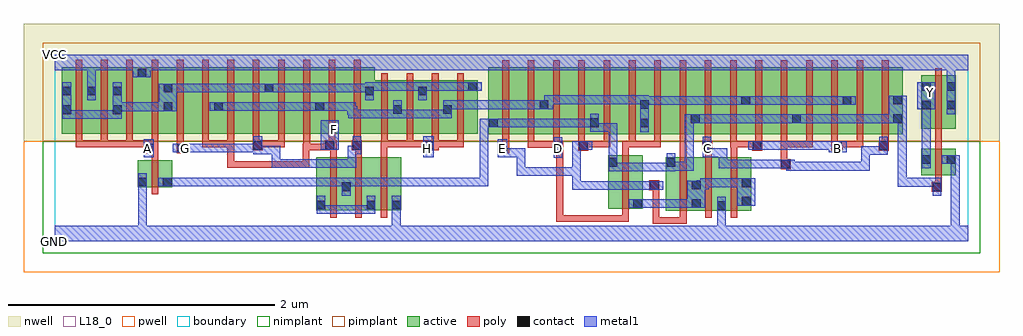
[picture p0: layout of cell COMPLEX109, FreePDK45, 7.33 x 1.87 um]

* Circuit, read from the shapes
.subckt COMPLEX109 A B C D E F G GND H VCC Y
M1 n1 A GND VSUBS nfet w=0.2u l=0.05u
M2 n1 F n2 VSUBS nfet w=0.4u l=0.05u
M3 n2 G n1 VSUBS nfet w=0.4u l=0.05u
M4 GND H n2 VSUBS nfet w=0.4u l=0.05u
M5 n3 D n1 VSUBS nfet w=0.4u l=0.05u
M6 n3 E n1 VSUBS nfet w=0.4u l=0.05u
M7 GND C n3 VSUBS nfet w=0.4u l=0.05u
M8 n3 B GND VSUBS nfet w=0.4u l=0.05u
M9 GND n1 Y VSUBS nfet w=0.2u l=0.05u
M10 VCC A n4 n5 pfet w=0.5u l=0.05u m=4
M11 n6 G n4 n5 pfet w=0.5u l=0.05u
M12 n7 F n6 n5 pfet w=0.5u l=0.05u
M13 n8 F n7 n5 pfet w=0.5u l=0.05u
M14 n4 G n8 n5 pfet w=0.5u l=0.05u
M15 n9 G n4 n5 pfet w=0.5u l=0.05u
M16 n7 F n9 n5 pfet w=0.5u l=0.05u
M17 n10 F n7 n5 pfet w=0.5u l=0.05u
M18 n4 G n10 n5 pfet w=0.5u l=0.05u
M19 n7 H n4 n5 pfet w=0.4u l=0.05u m=4
M20 n11 E n1 n5 pfet w=0.5u l=0.05u
M21 n7 D n11 n5 pfet w=0.5u l=0.05u
M22 n12 D n7 n5 pfet w=0.5u l=0.05u
M23 n1 E n12 n5 pfet w=0.5u l=0.05u
M24 n13 E n1 n5 pfet w=0.5u l=0.05u
M25 n7 D n13 n5 pfet w=0.5u l=0.05u
M26 n14 D n7 n5 pfet w=0.5u l=0.05u
M27 n1 E n14 n5 pfet w=0.5u l=0.05u
M28 n15 C n1 n5 pfet w=0.5u l=0.05u
M29 n7 B n15 n5 pfet w=0.5u l=0.05u
M30 n16 B n7 n5 pfet w=0.5u l=0.05u
M31 n1 C n16 n5 pfet w=0.5u l=0.05u
M32 n17 C n1 n5 pfet w=0.5u l=0.05u
M33 n7 B n17 n5 pfet w=0.5u l=0.05u
M34 n18 B n7 n5 pfet w=0.5u l=0.05u
M35 n1 C n18 n5 pfet w=0.5u l=0.05u
M36 VCC n1 Y n5 pfet w=0.4u l=0.05u
.ends

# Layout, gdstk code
import gdstk
lib = gdstk.Library(unit=1e-6, precision=1e-09)
def R(c, l, rs):  # rectangles x0, y0, x1, y1
    for r in rs: c.add(gdstk.rectangle(r[:2], r[2:], *l))
def A(c, l, x, y, w, h, nx, ny, dx, dy):  # array of equal rectangles
    R(c, l, [(x+i*dx, y+j*dy, x+i*dx+w, y+j*dy+h) for i in range(nx) for j in range(ny)])
active = (1, 0)
pwell = (2, 0)
nwell = (3, 0)
nimplant = (4, 0)
pimplant = (5, 0)
poly = (9, 0)
contact = (10, 0)
metal1 = (11, 0)
L18_0 = (18, 0)
boundary = (235, 0)

complex109 = lib.new_cell('COMPLEX109')
A(complex109, active, 3.257, 0.805, 0.225, 0.5, 3, 1, 0.38, 0)
A(complex109, active, 4.242, 0.805, 0.225, 0.5, 6, 1, 0.38, 0)
A(complex109, active, 4.392, 0.805, 0.23, 0.5, 5, 1, 0.38, 0)
A(complex109, active, 0.052, 0.807, 0.075, 0.393, 3, 1, 0.38, 0)
A(complex109, active, 4.392, 0.807, 0.075, 0.393, 3, 1, 0.76, 0)
R(complex109, active, [(4.59,0.23,4.855,0.63), (4.78,0.23,5.045,0.63), (4.97,0.23,5.23,0.63), (4.97,0.23,5.045,0.492), (5.155,0.23,5.23,0.497), (1.962,0.232,2.227,0.632), (1.962,0.232,2.037,0.487), (2.152,0.232,2.412,0.632), (2.337,0.232,2.602,0.632), (2.337,0.232,2.412,0.492), (2.527,0.232,2.602,0.632), (4.155,0.245,4.415,0.645), (4.34,0.245,4.415,0.645), (4.78,0.245,4.855,0.492), (2.152,0.295,2.227,0.492), (4.155,0.295,4.23,0.645), (4.59,0.295,4.665,0.63), (0.622,0.407,0.697,0.607), (0.622,0.407,0.882,0.607), (0.807,0.407,0.882,0.607), (6.507,0.495,6.582,0.695), (6.507,0.495,6.767,0.695), (6.692,0.495,6.767,0.695), (3.257,0.805,3.362,0.94), (3.482,0.805,3.712,1.305), (3.862,0.805,4.092,1.305), (6.292,0.805,6.367,1.2), (0.052,0.807,0.312,1.307), (0.237,0.807,0.507,1.307), (0.237,0.807,0.312,1.305), (0.432,0.807,0.692,1.307), (0.617,0.807,0.887,1.307), (0.617,0.807,0.692,1.305), (0.812,0.807,1.037,1.307), (1.037,0.807,1.267,1.307), (1.192,0.807,1.417,1.307), (1.192,0.807,1.267,1.07), (1.417,0.807,1.645,1.307), (1.57,0.807,1.645,1.2), (1.57,0.807,1.797,1.307), (1.797,0.807,2.027,1.307), (1.952,0.807,2.177,1.307), (1.952,0.807,2.027,1.07), (2.177,0.807,2.402,1.307), (2.327,0.807,2.612,1.207), (2.537,0.807,2.8,1.207), (2.725,0.807,2.987,1.207), (2.912,0.807,3.177,1.207), (3.637,0.807,3.712,1.2), (4.017,0.807,4.092,1.07), (4.772,0.807,4.847,1.07), (5.532,0.807,5.607,1.07), (6.507,0.845,6.767,1.245), (6.507,0.845,6.582,1.2), (6.692,0.845,6.767,1.205), (2.327,0.907,2.402,1.2), (2.537,0.907,2.612,1.07), (2.725,0.907,2.8,1.2), (2.912,0.907,2.987,1.07), (3.102,0.907,3.177,1.2)])
R(complex109, pwell, [(-0.235,-0.235,7.095,0.75)])
R(complex109, nwell, [(-0.235,0.75,7.095,1.635)])
R(complex109, nimplant, [(-0.09,-0.09,6.95,0.75)])
R(complex109, pimplant, [(-0.09,0.75,6.95,1.49)])
A(complex109, poly, 4.695, 0.175, 0.05, 0.51, 3, 1, 0.19, 0)
A(complex109, poly, 2.067, 0.177, 0.05, 0.51, 3, 1, 0.19, 0)
A(complex109, poly, 3.932, 0.705, 0.05, 0.095, 4, 1, 0.19, 0)
A(complex109, poly, 4.882, 0.705, 0.05, 0.095, 8, 1, 0.19, 0)
A(complex109, poly, 0.157, 0.707, 0.05, 0.095, 4, 1, 0.19, 0)
A(complex109, poly, 0.157, 0.707, 0.05, 0.05, 3, 1, 0.19, 0)
A(complex109, poly, 1.107, 0.707, 0.05, 0.095, 4, 1, 0.19, 0)
A(complex109, poly, 2.452, 0.707, 0.05, 0.095, 4, 1, 0.19, 0)
A(complex109, poly, 3.362, 0.75, 0.05, 0.61, 16, 1, 0.19, 0)
A(complex109, poly, 0.157, 0.752, 0.05, 0.61, 12, 1, 0.19, 0)
A(complex109, poly, 2.452, 0.752, 0.05, 0.51, 4, 1, 0.19, 0)
R(complex109, poly, [(4.49,0.13,4.54,0.18), (4.49,0.13,4.745,0.18), (4.49,0.13,4.54,0.432), (4.695,0.13,4.745,0.225), (4.695,0.13,4.745,0.18), (4.695,0.13,4.745,0.18), (4.695,0.13,4.745,0.18), (3.767,0.145,3.817,0.195), (3.767,0.145,3.817,0.195), (3.767,0.145,3.817,0.195), (3.767,0.145,3.95,0.195), (3.767,0.145,3.817,0.727), (3.9,0.145,3.95,0.195), (3.9,0.145,3.95,0.195), (3.9,0.145,3.95,0.195), (3.9,0.145,3.95,0.195), (3.9,0.145,3.95,0.195), (3.9,0.145,3.95,0.195), (3.9,0.145,3.95,0.195), (3.9,0.145,4.097,0.195), (4.047,0.145,4.097,0.195), (4.047,0.145,4.14,0.195), (4.09,0.145,4.14,0.195), (4.09,0.145,4.23,0.195), (4.18,0.145,4.23,0.195), (4.18,0.145,4.31,0.195), (4.26,0.145,4.31,0.24), (4.26,0.145,4.31,0.195), (4.26,0.19,4.31,0.7), (0.727,0.352,0.777,0.662), (6.587,0.37,6.662,0.445), (4.465,0.382,4.54,0.457), (4.49,0.382,4.54,0.432), (4.49,0.382,4.54,0.432), (6.612,0.395,6.662,0.49), (6.612,0.44,6.662,0.75), (5.452,0.542,5.527,0.617), (1.297,0.55,1.347,0.6), (1.297,0.55,1.347,0.6), (1.297,0.55,1.347,0.6), (1.297,0.55,1.347,0.6), (1.297,0.55,1.347,0.6), (1.297,0.55,1.595,0.6), (1.297,0.55,1.347,0.757), (1.545,0.55,1.595,0.6), (1.545,0.55,1.595,0.6), (1.545,0.55,1.595,0.6), (1.545,0.55,1.747,0.6), (1.697,0.55,1.747,0.6), (1.697,0.55,1.747,0.6), (1.697,0.55,1.747,0.6), (1.697,0.55,1.912,0.6), (1.862,0.55,1.912,0.6), (1.862,0.55,1.912,0.6), (1.862,0.55,1.912,0.6), (1.862,0.55,1.912,0.732), (5.452,0.567,5.502,0.755), (0.727,0.612,0.777,0.712), (4.695,0.635,4.745,0.73), (4.885,0.635,4.935,0.73), (5.075,0.635,5.125,0.755), (2.067,0.637,2.117,0.732), (2.257,0.637,2.307,0.732), (2.447,0.637,2.497,0.757), (4.26,0.65,4.31,0.755), (0.675,0.662,0.777,0.757), (0.917,0.662,0.992,0.737), (3.327,0.662,3.412,0.737), (3.742,0.677,3.817,0.752), (3.767,0.677,3.817,0.727), (3.767,0.677,3.817,0.727), (3.932,0.68,4.007,0.755), (4.692,0.68,4.742,0.8), (4.692,0.68,4.745,0.73), (4.862,0.68,4.937,0.755), (5.237,0.68,5.312,0.755), (5.832,0.68,5.917,0.755), (6.187,0.68,6.262,0.755), (1.487,0.682,1.562,0.757), (1.862,0.682,1.917,0.732), (1.867,0.682,1.917,0.802), (1.867,0.682,2.077,0.732), (2.027,0.682,2.077,0.732), (2.027,0.682,2.077,0.732), (2.027,0.682,2.117,0.757), (2.232,0.682,2.307,0.757), (2.775,0.682,2.882,0.757), (0.917,0.687,0.967,0.802), (3.362,0.687,3.412,0.8), (6.612,0.7,6.662,0.795), (3.552,0.702,3.602,0.752), (3.552,0.702,3.602,0.752), (3.552,0.702,3.602,0.752), (3.552,0.702,3.792,0.752), (3.552,0.702,3.602,0.8), (3.742,0.702,3.792,0.8), (3.957,0.705,4.097,0.755), (4.047,0.705,4.097,0.755), (4.047,0.705,4.172,0.755), (4.122,0.705,4.172,0.755), (4.26,0.705,4.362,0.755), (4.312,0.705,4.362,0.755), (4.312,0.705,4.362,0.755), (4.312,0.705,4.552,0.755), (4.502,0.705,4.552,0.755), (5.072,0.705,5.125,0.755), (5.075,0.705,5.287,0.755), (5.237,0.705,5.287,0.755), (5.237,0.705,5.287,0.755), (5.452,0.705,5.502,0.755), (5.452,0.705,5.502,0.755), (5.452,0.705,5.502,0.755), (5.452,0.705,5.502,0.755), (5.452,0.705,5.502,0.755), (5.452,0.705,5.692,0.755), (5.642,0.705,5.692,0.755), (5.867,0.705,6.072,0.755), (6.022,0.705,6.072,0.755), (6.022,0.705,6.072,0.755), (6.022,0.705,6.072,0.755), (0.157,0.707,0.207,0.757), (0.157,0.707,0.207,0.757), (0.157,0.707,0.397,0.757), (0.347,0.707,0.587,0.757), (0.537,0.707,0.587,0.757), (0.537,0.707,0.587,0.757), (0.537,0.707,0.725,0.757), (0.675,0.707,0.725,0.757), (0.675,0.707,0.725,0.757), (1.107,0.707,1.157,0.757), (1.107,0.707,1.157,0.757), (1.107,0.707,1.157,0.757), (1.107,0.707,1.347,0.757), (1.297,0.707,1.347,0.757), (1.512,0.707,1.562,0.757), (1.512,0.707,1.562,0.757), (1.512,0.707,1.727,0.757), (1.677,0.707,1.727,0.757), (2.057,0.707,2.107,0.802), (2.247,0.707,2.297,0.802), (2.447,0.707,2.502,0.757), (2.452,0.707,2.502,0.757), (2.452,0.707,2.502,0.757), (2.452,0.707,2.692,0.757), (2.642,0.707,2.692,0.757), (2.642,0.707,2.692,0.757), (2.642,0.707,2.692,0.757), (2.642,0.707,2.825,0.757), (2.832,0.707,3.072,0.757), (3.022,0.707,3.072,0.757), (3.022,0.707,3.072,0.757), (3.022,0.707,3.072,0.757), (6.612,0.745,6.662,0.84), (6.612,0.745,6.662,0.795), (6.612,0.79,6.662,1.3)])
A(complex109, contact, 4.777, 0.887, 0.065, 0.065, 3, 1, 0.76, 0)
R(complex109, contact, [(4.975,0.235,5.04,0.3), (1.967,0.24,2.032,0.305), (2.342,0.24,2.407,0.305), (2.532,0.24,2.597,0.305), (4.345,0.25,4.41,0.315), (4.785,0.25,4.85,0.315), (5.16,0.267,5.225,0.332), (6.592,0.375,6.657,0.44), (2.157,0.377,2.222,0.442), (4.47,0.387,4.535,0.452), (4.785,0.39,4.85,0.455), (5.16,0.407,5.225,0.472), (0.627,0.412,0.692,0.477), (0.812,0.412,0.877,0.477), (5.457,0.547,5.522,0.612), (4.16,0.56,4.225,0.625), (4.595,0.56,4.66,0.625), (6.512,0.582,6.577,0.647), (6.697,0.582,6.762,0.647), (0.68,0.667,0.745,0.732), (0.922,0.667,0.987,0.732), (3.332,0.667,3.397,0.732), (3.747,0.682,3.812,0.747), (3.937,0.685,4.002,0.75), (4.867,0.685,4.932,0.75), (5.242,0.685,5.307,0.75), (5.847,0.685,5.912,0.75), (6.192,0.685,6.257,0.75), (1.492,0.687,1.557,0.752), (2.032,0.687,2.097,0.752), (2.237,0.687,2.302,0.752), (2.78,0.687,2.845,0.752), (3.262,0.855,3.327,0.92), (4.397,0.855,4.462,0.92), (4.022,0.857,4.087,0.922), (0.057,0.955,0.122,1.02), (0.437,0.955,0.502,1.02), (2.542,0.957,2.607,1.022), (2.917,0.957,2.982,1.022), (0.817,0.977,0.882,1.042), (1.197,0.98,1.262,1.045), (1.957,0.98,2.022,1.045), (6.512,0.99,6.577,1.055), (6.697,0.99,6.762,1.055), (3.642,0.992,3.707,1.057), (4.397,0.995,4.462,1.06), (5.157,1.025,5.222,1.09), (5.917,1.025,5.982,1.09), (6.297,1.027,6.362,1.092), (0.057,1.095,0.122,1.16), (0.242,1.095,0.307,1.16), (0.437,1.095,0.502,1.16), (2.332,1.095,2.397,1.16), (2.73,1.095,2.795,1.16), (0.817,1.117,0.882,1.182), (1.575,1.117,1.64,1.182), (3.107,1.13,3.172,1.195), (6.512,1.13,6.577,1.195), (6.697,1.13,6.762,1.195), (0.622,1.23,0.687,1.295)])
A(complex109, metal1, 0.852, 1.117, 0.203, 0.065, 3, 1, 0.275, 0)
R(complex109, metal1, [(0,0,6.86,0.115), (0.627,0.05,0.692,0.115), (0.627,0.05,0.692,0.115), (0.627,0.05,0.692,0.115), (0.627,0.05,0.692,0.115), (0.627,0.05,0.692,0.115), (0.627,0.05,0.692,0.115), (0.627,0.05,0.692,0.442), (2.532,0.05,2.597,0.115), (2.532,0.05,2.597,0.115), (2.532,0.05,2.597,0.27), (4.975,0.05,5.04,0.115), (4.975,0.05,5.04,0.115), (4.975,0.05,5.04,0.265), (6.73,0.05,6.795,0.647), (6.73,0.05,6.795,0.115), (6.73,0.05,6.795,0.115), (6.73,0.05,6.795,0.115), (6.73,0.05,6.795,0.115), (6.73,0.05,6.795,0.115), (6.73,0.05,6.795,0.115), (4.975,0.2,5.04,0.335), (1.967,0.205,2.032,0.27), (1.967,0.205,2.032,0.27), (1.967,0.205,2.032,0.34), (1.967,0.205,2.26,0.27), (2.195,0.205,2.26,0.27), (2.195,0.205,2.332,0.27), (2.267,0.205,2.332,0.27), (2.267,0.205,2.407,0.27), (2.342,0.205,2.407,0.34), (2.532,0.205,2.597,0.34), (4.31,0.25,4.445,0.315), (4.38,0.25,4.445,0.315), (4.38,0.25,4.445,0.315), (4.38,0.25,4.637,0.315), (4.572,0.25,4.637,0.315), (4.572,0.25,4.637,0.315), (4.572,0.25,4.637,0.315), (4.572,0.25,4.815,0.315), (4.75,0.25,4.885,0.455), (5.125,0.267,5.26,0.472), (6.592,0.34,6.657,0.475), (2.157,0.342,2.222,0.477), (0.627,0.377,0.692,0.512), (3.885,0.387,3.95,0.452), (3.885,0.387,3.95,0.452), (3.885,0.387,3.95,0.452), (3.885,0.387,3.95,0.452), (3.885,0.387,3.95,0.452), (3.885,0.387,4.087,0.452), (3.885,0.387,3.95,0.555), (4.022,0.387,4.087,0.452), (4.022,0.387,4.087,0.452), (4.022,0.387,4.087,0.452), (4.022,0.387,4.237,0.452), (4.172,0.387,4.237,0.452), (4.172,0.387,4.237,0.452), (4.172,0.387,4.237,0.452), (4.172,0.387,4.5,0.452), (4.435,0.387,4.57,0.452), (4.435,0.387,4.5,0.452), (4.435,0.387,4.5,0.452), (4.82,0.39,4.885,0.455), (4.82,0.39,4.885,0.457), (4.82,0.392,4.912,0.457), (4.847,0.392,4.912,0.472), (4.847,0.407,5.022,0.472), (4.957,0.407,5.022,0.472), (4.957,0.407,5.12,0.472), (5.055,0.407,5.19,0.472), (5.055,0.407,5.12,0.472), (6.332,0.41,6.397,0.475), (6.332,0.41,6.397,0.475), (6.332,0.41,6.397,0.475), (6.332,0.41,6.657,0.475), (6.332,0.41,6.397,0.952), (0.777,0.412,0.912,0.477), (0.847,0.412,1.055,0.477), (0.99,0.412,1.055,0.477), (0.99,0.412,1.055,0.477), (0.99,0.412,1.055,0.477), (0.99,0.412,1.192,0.477), (1.127,0.412,1.192,0.477), (1.127,0.412,1.33,0.477), (1.265,0.412,1.33,0.477), (1.265,0.412,1.33,0.477), (1.265,0.412,1.33,0.477), (1.265,0.412,1.467,0.477), (1.402,0.412,1.467,0.477), (1.402,0.412,1.467,0.477), (1.402,0.412,1.467,0.477), (1.402,0.412,1.695,0.477), (1.63,0.412,1.695,0.477), (1.63,0.412,1.695,0.477), (1.63,0.412,1.695,0.477), (1.63,0.412,1.832,0.477), (1.767,0.412,1.832,0.477), (1.767,0.412,1.832,0.477), (1.767,0.412,1.832,0.477), (1.767,0.412,1.832,0.477), (1.767,0.412,1.832,0.477), (1.767,0.412,1.97,0.477), (1.905,0.412,1.97,0.477), (1.905,0.412,1.97,0.477), (1.905,0.412,1.97,0.477), (1.905,0.412,2.222,0.477), (2.157,0.412,2.27,0.477), (2.205,0.412,2.27,0.477), (2.205,0.412,2.46,0.477), (2.395,0.412,2.46,0.477), (2.395,0.412,2.47,0.477), (2.405,0.412,2.47,0.477), (2.405,0.412,2.657,0.477), (2.592,0.412,2.657,0.477), (2.592,0.412,2.657,0.477), (2.592,0.412,2.657,0.477), (2.592,0.412,2.795,0.477), (2.73,0.412,2.795,0.477), (2.73,0.412,2.795,0.477), (2.73,0.412,2.795,0.477), (2.73,0.412,3,0.477), (2.935,0.412,3,0.477), (2.935,0.412,3,0.477), (2.935,0.412,3,0.477), (2.935,0.412,3.255,0.477), (3.19,0.412,3.255,0.477), (3.19,0.412,3.255,0.477), (3.19,0.412,3.255,0.477), (3.19,0.412,3.255,0.477), (3.19,0.412,3.255,0.477), (3.19,0.412,3.255,0.477), (3.19,0.412,3.255,0.477), (3.19,0.412,3.255,0.477), (3.19,0.412,3.255,0.477), (3.19,0.412,3.255,0.92), (3.47,0.49,3.535,0.555), (3.47,0.49,3.535,0.555), (3.47,0.49,3.535,0.555), (3.47,0.49,3.672,0.555), (3.47,0.49,3.535,0.697), (3.607,0.49,3.672,0.555), (3.607,0.49,3.672,0.555), (3.607,0.49,3.672,0.555), (3.607,0.49,3.95,0.555), (3.885,0.49,3.95,0.555), (3.885,0.49,3.95,0.75), (4.16,0.525,4.225,0.59), (4.16,0.525,4.225,0.59), (4.16,0.525,4.225,0.66), (4.16,0.525,4.375,0.59), (4.31,0.525,4.375,0.59), (4.31,0.525,4.375,0.59), (4.31,0.525,4.375,0.59), (4.31,0.525,4.66,0.59), (4.595,0.525,4.66,0.66), (4.595,0.53,4.66,0.595), (4.595,0.53,4.66,0.595), (4.595,0.53,4.797,0.595), (4.732,0.53,4.797,0.595), (4.732,0.53,4.797,0.595), (4.732,0.53,4.797,0.595), (4.732,0.53,4.797,0.952), (5.492,0.53,5.705,0.595), (5.492,0.53,5.557,0.612), (5.64,0.53,5.705,0.595), (5.64,0.53,5.81,0.595), (5.745,0.53,5.81,0.595), (5.745,0.53,5.947,0.595), (5.882,0.53,5.947,0.595), (5.882,0.53,5.947,0.595), (5.882,0.53,5.947,0.595), (5.882,0.53,6.12,0.595), (6.055,0.53,6.12,0.715), (6.055,0.53,6.12,0.595), (6.055,0.53,6.12,0.595), (6.055,0.53,6.12,0.595), (4.985,0.547,5.05,0.612), (4.985,0.547,5.07,0.612), (4.985,0.547,5.05,0.697), (5.005,0.547,5.07,0.612), (5.005,0.547,5.257,0.612), (5.192,0.547,5.257,0.612), (5.192,0.547,5.257,0.612), (5.192,0.547,5.257,0.612), (5.192,0.547,5.395,0.612), (5.33,0.547,5.395,0.612), (5.33,0.547,5.395,0.612), (5.33,0.547,5.395,0.612), (5.33,0.547,5.487,0.612), (5.422,0.547,5.557,0.612), (5.492,0.547,5.557,0.612), (6.512,0.547,6.577,0.682), (1.63,0.55,1.695,0.615), (1.63,0.55,1.695,0.615), (1.63,0.55,1.695,0.615), (1.63,0.55,1.832,0.615), (1.63,0.55,1.695,0.717), (1.767,0.55,1.832,0.615), (1.767,0.55,1.832,0.615), (1.767,0.55,1.832,0.615), (1.767,0.55,2.085,0.615), (2.02,0.55,2.085,0.615), (2.02,0.55,2.085,0.615), (2.02,0.55,2.085,0.615), (2.02,0.55,2.265,0.615), (2.2,0.55,2.265,0.615), (2.2,0.55,2.265,0.717), (6.662,0.582,6.797,0.647), (4.16,0.595,4.225,0.66), (4.16,0.595,4.225,0.66), (4.16,0.595,4.225,0.887), (6.512,0.617,6.577,1.055), (3.747,0.627,3.812,0.782), (0.667,0.63,0.745,0.767), (2.767,0.632,2.845,0.787), (3.327,0.632,3.397,0.767), (3.332,0.632,3.535,0.697), (3.47,0.632,3.535,0.697), (4.867,0.632,5.05,0.697), (4.867,0.632,4.932,0.785), (4.985,0.632,5.05,0.697), (6.055,0.65,6.12,0.715), (6.055,0.65,6.12,0.715), (6.055,0.65,6.12,0.715), (6.055,0.65,6.257,0.715), (6.192,0.65,6.257,0.785), (1.492,0.652,1.557,0.787), (1.492,0.652,1.695,0.717), (1.63,0.652,1.695,0.717), (2.2,0.652,2.265,0.717), (2.2,0.652,2.302,0.717), (2.237,0.652,2.302,0.787), (0.887,0.667,1.047,0.732), (0.982,0.667,1.055,0.732), (0.99,0.667,1.055,0.732), (0.99,0.667,1.192,0.732), (1.127,0.667,1.192,0.732), (1.127,0.667,1.192,0.732), (1.127,0.667,1.192,0.732), (1.127,0.667,1.33,0.732), (1.265,0.667,1.33,0.732), (1.265,0.667,1.467,0.732), (1.402,0.667,1.467,0.732), (1.402,0.667,1.557,0.732), (5.812,0.667,5.947,0.75), (3.885,0.685,3.95,0.75), (3.885,0.685,3.967,0.75), (3.902,0.685,4.037,0.75), (5.207,0.685,5.342,0.75), (5.277,0.685,5.395,0.75), (5.33,0.685,5.395,0.75), (5.33,0.685,5.532,0.75), (5.467,0.685,5.532,0.75), (5.467,0.685,5.532,0.75), (5.467,0.685,5.532,0.75), (5.467,0.685,5.705,0.75), (5.64,0.685,5.705,0.75), (5.64,0.685,5.81,0.75), (5.745,0.685,5.81,0.75), (5.745,0.685,5.877,0.75), (1.997,0.687,2.132,0.907), (4.397,0.82,4.462,1.095), (4.022,0.822,4.087,0.887), (4.022,0.822,4.087,0.887), (4.022,0.822,4.087,0.957), (4.022,0.822,4.225,0.887), (4.16,0.822,4.225,0.887), (3.19,0.855,3.362,0.92), (3.297,0.855,3.392,0.92), (3.327,0.855,3.392,0.92), (3.327,0.855,3.535,0.92), (3.47,0.855,3.535,0.92), (3.47,0.855,3.535,0.92), (3.47,0.855,3.535,0.92), (3.47,0.855,3.812,0.92), (3.747,0.855,3.812,0.92), (3.747,0.855,3.812,0.92), (3.747,0.855,3.812,0.92), (3.747,0.855,3.95,0.92), (3.885,0.855,3.95,0.92), (3.885,0.855,3.95,0.92), (3.885,0.855,3.95,0.92), (3.885,0.855,4.087,0.92), (4.732,0.887,4.877,0.952), (4.812,0.887,4.877,0.952), (4.812,0.887,4.877,0.952), (4.812,0.887,5.05,0.952), (4.985,0.887,5.12,0.952), (4.985,0.887,5.05,0.952), (5.055,0.887,5.12,0.952), (5.055,0.887,5.257,0.952), (5.192,0.887,5.257,0.952), (5.192,0.887,5.257,0.952), (5.192,0.887,5.257,0.952), (5.192,0.887,5.395,0.952), (5.33,0.887,5.395,0.952), (5.33,0.887,5.567,0.952), (5.502,0.887,5.637,0.952), (5.502,0.887,5.567,0.952), (5.502,0.887,5.567,0.952), (5.572,0.887,5.705,0.952), (5.64,0.887,5.775,0.952), (5.64,0.887,5.705,0.952), (5.71,0.887,5.775,0.952), (5.71,0.887,5.947,0.952), (5.882,0.887,5.947,0.952), (5.882,0.887,5.947,0.952), (5.882,0.887,5.947,0.952), (5.882,0.887,6.085,0.952), (6.02,0.887,6.085,0.952), (6.02,0.887,6.085,0.952), (6.02,0.887,6.085,0.952), (6.02,0.887,6.257,0.952), (6.192,0.887,6.327,0.952), (6.192,0.887,6.257,0.952), (6.262,0.887,6.397,1.092), (6.332,0.887,6.397,0.952), (6.332,0.887,6.397,0.952), (6.332,0.887,6.397,0.952), (6.332,0.887,6.397,0.952), (6.332,0.887,6.397,0.952), (6.332,0.887,6.397,0.952), (0.057,0.92,0.122,1.195), (0.057,0.92,0.122,0.985), (0.057,0.92,0.122,0.985), (0.057,0.92,0.26,0.985), (0.195,0.92,0.26,0.985), (0.195,0.92,0.26,0.985), (0.195,0.92,0.26,0.985), (0.195,0.92,0.502,0.985), (0.437,0.92,0.502,1.195), (2.205,0.922,2.402,0.987), (2.205,0.922,2.27,1.015), (2.337,0.922,2.402,0.987), (2.337,0.922,2.47,0.987), (2.405,0.922,2.47,0.987), (2.405,0.922,2.607,0.987), (2.542,0.922,2.607,0.987), (2.542,0.922,2.607,0.987), (2.542,0.922,2.607,1.057), (2.542,0.922,2.795,0.987), (2.73,0.922,2.795,0.987), (2.73,0.922,2.795,0.987), (2.73,0.922,2.795,0.987), (2.73,0.922,2.982,0.987), (2.917,0.922,2.982,1.057), (2.197,0.95,2.27,1.015), (2.197,0.95,2.262,1.045), (6.697,0.955,6.762,1.23), (0.437,0.977,0.502,1.042), (0.437,0.977,0.502,1.042), (0.437,0.977,0.64,1.042), (0.575,0.977,0.64,1.042), (0.575,0.977,0.64,1.042), (0.575,0.977,0.64,1.042), (0.575,0.977,0.847,1.042), (0.782,0.977,0.917,1.182), (1.162,0.98,1.297,1.045), (1.232,0.98,1.33,1.045), (1.265,0.98,1.33,1.045), (1.265,0.98,1.467,1.045), (1.402,0.98,1.467,1.045), (1.402,0.98,1.467,1.045), (1.402,0.98,1.467,1.045), (1.402,0.98,1.695,1.045), (1.63,0.98,1.695,1.045), (1.63,0.98,1.695,1.045), (1.63,0.98,1.695,1.045), (1.63,0.98,1.832,1.045), (1.767,0.98,1.832,1.045), (1.767,0.98,1.832,1.045), (1.767,0.98,1.832,1.045), (1.767,0.98,1.987,1.045), (1.922,0.98,2.057,1.045), (1.992,0.98,2.057,1.045), (1.992,0.98,2.057,1.045), (1.992,0.98,2.262,1.045), (6.477,0.99,6.612,1.195), (6.512,0.99,6.577,1.055), (6.512,0.99,6.577,1.055), (6.512,0.99,6.577,1.055), (6.512,0.99,6.577,1.055), (2.917,0.992,2.982,1.057), (2.917,0.992,2.982,1.057), (2.917,0.992,3.255,1.057), (3.19,0.992,3.255,1.057), (3.19,0.992,3.397,1.057), (3.332,0.992,3.397,1.057), (3.332,0.992,3.397,1.057), (3.332,0.992,3.397,1.057), (3.332,0.992,3.535,1.057), (3.47,0.992,3.535,1.057), (3.47,0.992,3.535,1.057), (3.47,0.992,3.535,1.057), (3.47,0.992,3.672,1.057), (3.607,0.992,3.742,1.057), (3.677,0.992,3.742,1.057), (3.677,0.992,3.742,1.095), (4.397,1.025,4.462,1.09), (4.397,1.025,4.462,1.09), (4.397,1.025,4.66,1.09), (4.595,1.025,4.66,1.09), (4.595,1.025,4.66,1.09), (4.595,1.025,4.66,1.09), (4.595,1.025,4.797,1.09), (4.732,1.025,4.797,1.09), (4.732,1.025,4.797,1.09), (4.732,1.025,4.797,1.09), (4.732,1.025,5.05,1.09), (4.985,1.025,5.05,1.09), (4.985,1.025,5.07,1.09), (5.005,1.025,5.07,1.09), (5.005,1.025,5.187,1.09), (5.122,1.025,5.257,1.09), (5.192,1.025,5.257,1.09), (5.192,1.025,5.257,1.09), (5.192,1.025,5.395,1.09), (5.33,1.025,5.395,1.09), (5.33,1.025,5.532,1.09), (5.467,1.025,5.532,1.09), (5.467,1.025,5.532,1.09), (5.467,1.025,5.532,1.09), (5.467,1.025,5.705,1.09), (5.64,1.025,5.775,1.09), (5.64,1.025,5.705,1.09), (5.71,1.025,5.775,1.09), (5.71,1.025,5.947,1.09), (5.882,1.025,6.017,1.09), (5.882,1.025,5.947,1.09), (5.882,1.025,5.947,1.09), (3.677,1.03,3.95,1.095), (3.885,1.03,3.95,1.095), (3.885,1.03,3.95,1.095), (3.885,1.03,3.95,1.095), (3.885,1.03,4.087,1.095), (4.022,1.03,4.087,1.095), (4.022,1.03,4.087,1.095), (4.022,1.03,4.087,1.095), (4.022,1.03,4.237,1.095), (4.172,1.03,4.237,1.095), (4.172,1.03,4.237,1.095), (4.172,1.03,4.237,1.095), (4.172,1.03,4.462,1.095), (0.242,1.06,0.307,1.195), (2.332,1.06,2.397,1.195), (2.73,1.06,2.795,1.195), (0.99,1.117,1.055,1.182), (0.99,1.117,1.055,1.182), (0.99,1.117,1.055,1.182), (0.99,1.117,1.192,1.182), (1.127,1.117,1.192,1.182), (1.127,1.117,1.192,1.182), (1.127,1.117,1.192,1.182), (1.265,1.117,1.33,1.182), (1.265,1.117,1.467,1.182), (1.402,1.117,1.467,1.182), (1.402,1.117,1.467,1.182), (1.402,1.117,1.467,1.182), (1.54,1.117,1.675,1.182), (1.61,1.117,1.695,1.182), (1.63,1.117,1.695,1.182), (1.63,1.117,1.832,1.182), (1.767,1.117,1.832,1.182), (1.767,1.117,1.832,1.182), (1.767,1.117,1.832,1.182), (1.767,1.117,2.085,1.182), (2.02,1.117,2.085,1.182), (2.02,1.117,2.085,1.182), (2.02,1.117,2.085,1.182), (2.02,1.117,2.26,1.182), (2.195,1.117,2.26,1.182), (2.195,1.117,2.332,1.182), (2.267,1.117,2.332,1.182), (2.267,1.117,2.397,1.182), (0.242,1.13,0.307,1.35), (2.332,1.13,2.47,1.195), (2.405,1.13,2.47,1.195), (2.405,1.13,2.657,1.195), (2.592,1.13,2.657,1.195), (2.592,1.13,2.657,1.195), (2.592,1.13,2.657,1.195), (2.592,1.13,2.795,1.195), (2.73,1.13,2.795,1.195), (2.73,1.13,2.795,1.195), (2.73,1.13,3,1.195), (2.935,1.13,3,1.195), (2.935,1.13,3,1.195), (2.935,1.13,3,1.195), (2.935,1.13,3.137,1.195), (3.072,1.13,3.207,1.195), (6.697,1.165,6.762,1.35), (0.587,1.23,0.722,1.295), (0.657,1.23,0.722,1.35), (0,1.285,6.86,1.4)])
R(complex109, L18_0, [(0,0,6.86,0.115), (0.627,0.05,0.692,0.115), (0.627,0.05,0.692,0.115), (0.627,0.05,0.692,0.115), (0.627,0.05,0.692,0.115), (0.627,0.05,0.692,0.115), (0.627,0.05,0.692,0.115), (0.627,0.05,0.692,0.442), (2.532,0.05,2.597,0.27), (2.532,0.05,2.597,0.115), (2.532,0.05,2.597,0.115), (4.975,0.05,5.04,0.115), (4.975,0.05,5.04,0.115), (4.975,0.05,5.04,0.265), (6.73,0.05,6.795,0.115), (6.73,0.05,6.795,0.115), (6.73,0.05,6.795,0.115), (6.73,0.05,6.795,0.115), (6.73,0.05,6.795,0.115), (6.73,0.05,6.795,0.115), (6.73,0.05,6.795,0.647), (4.975,0.2,5.04,0.335), (2.532,0.205,2.597,0.34), (0.627,0.377,0.692,0.512), (3.885,0.387,3.95,0.452), (3.885,0.387,3.95,0.452), (3.885,0.387,3.95,0.452), (3.885,0.387,3.95,0.452), (3.885,0.387,3.95,0.452), (3.885,0.387,4.087,0.452), (3.885,0.387,3.95,0.555), (4.022,0.387,4.087,0.452), (4.022,0.387,4.087,0.452), (4.022,0.387,4.087,0.452), (4.022,0.387,4.237,0.452), (4.172,0.387,4.237,0.452), (4.172,0.387,4.237,0.452), (4.172,0.387,4.237,0.452), (4.172,0.387,4.5,0.452), (4.435,0.387,4.5,0.452), (4.435,0.387,4.5,0.452), (4.435,0.387,4.57,0.452), (3.47,0.49,3.535,0.555), (3.47,0.49,3.535,0.555), (3.47,0.49,3.535,0.555), (3.47,0.49,3.672,0.555), (3.47,0.49,3.535,0.697), (3.607,0.49,3.672,0.555), (3.607,0.49,3.672,0.555), (3.607,0.49,3.672,0.555), (3.607,0.49,3.95,0.555), (3.885,0.49,3.95,0.555), (3.885,0.49,3.95,0.75), (5.492,0.53,5.557,0.612), (5.492,0.53,5.705,0.595), (5.64,0.53,5.705,0.595), (5.64,0.53,5.81,0.595), (5.745,0.53,5.81,0.595), (5.745,0.53,5.947,0.595), (5.882,0.53,5.947,0.595), (5.882,0.53,5.947,0.595), (5.882,0.53,5.947,0.595), (5.882,0.53,6.12,0.595), (6.055,0.53,6.12,0.595), (6.055,0.53,6.12,0.595), (6.055,0.53,6.12,0.595), (6.055,0.53,6.12,0.715), (4.985,0.547,5.05,0.612), (4.985,0.547,5.05,0.697), (4.985,0.547,5.07,0.612), (5.005,0.547,5.07,0.612), (5.005,0.547,5.257,0.612), (5.192,0.547,5.257,0.612), (5.192,0.547,5.257,0.612), (5.192,0.547,5.257,0.612), (5.192,0.547,5.395,0.612), (5.33,0.547,5.395,0.612), (5.33,0.547,5.395,0.612), (5.33,0.547,5.395,0.612), (5.33,0.547,5.487,0.612), (5.422,0.547,5.557,0.612), (5.492,0.547,5.557,0.612), (6.512,0.547,6.577,0.682), (1.63,0.55,1.695,0.615), (1.63,0.55,1.695,0.615), (1.63,0.55,1.695,0.615), (1.63,0.55,1.832,0.615), (1.63,0.55,1.695,0.717), (1.767,0.55,1.832,0.615), (1.767,0.55,1.832,0.615), (1.767,0.55,1.832,0.615), (1.767,0.55,2.085,0.615), (2.02,0.55,2.085,0.615), (2.02,0.55,2.085,0.615), (2.02,0.55,2.085,0.615), (2.02,0.55,2.265,0.615), (2.2,0.55,2.265,0.615), (2.2,0.55,2.265,0.717), (6.662,0.582,6.797,0.647), (6.512,0.617,6.577,1.055), (3.747,0.627,3.812,0.782), (0.667,0.63,0.745,0.767), (2.767,0.632,2.845,0.787), (3.327,0.632,3.397,0.767), (3.332,0.632,3.535,0.697), (3.47,0.632,3.535,0.697), (4.867,0.632,4.932,0.785), (4.867,0.632,5.05,0.697), (4.985,0.632,5.05,0.697), (6.055,0.65,6.12,0.715), (6.055,0.65,6.12,0.715), (6.055,0.65,6.12,0.715), (6.055,0.65,6.257,0.715), (6.192,0.65,6.257,0.785), (1.492,0.652,1.557,0.787), (1.492,0.652,1.695,0.717), (1.63,0.652,1.695,0.717), (2.2,0.652,2.265,0.717), (2.2,0.652,2.302,0.717), (2.237,0.652,2.302,0.787), (0.667,0.667,0.732,0.732), (0.887,0.667,1.047,0.732), (0.947,0.667,1.012,0.732), (0.982,0.667,1.055,0.732), (0.99,0.667,1.055,0.732), (0.99,0.667,1.192,0.732), (1.127,0.667,1.192,0.732), (1.127,0.667,1.192,0.732), (1.127,0.667,1.192,0.732), (1.127,0.667,1.33,0.732), (1.265,0.667,1.33,0.732), (1.265,0.667,1.467,0.732), (1.402,0.667,1.467,0.732), (1.402,0.667,1.557,0.732), (2.767,0.667,2.832,0.732), (3.327,0.667,3.392,0.732), (3.747,0.667,3.812,0.732), (4.867,0.667,4.932,0.732), (5.812,0.667,5.947,0.75), (5.847,0.667,5.912,0.732), (3.885,0.685,3.95,0.75), (3.885,0.685,3.967,0.75), (3.902,0.685,4.037,0.75), (5.207,0.685,5.342,0.75), (5.277,0.685,5.395,0.75), (5.33,0.685,5.395,0.75), (5.33,0.685,5.532,0.75), (5.467,0.685,5.532,0.75), (5.467,0.685,5.532,0.75), (5.467,0.685,5.532,0.75), (5.467,0.685,5.705,0.75), (5.64,0.685,5.705,0.75), (5.64,0.685,5.81,0.75), (5.745,0.685,5.81,0.75), (5.745,0.685,5.877,0.75), (1.997,0.687,2.132,0.907), (2.067,0.807,2.132,0.872), (6.697,0.955,6.762,1.23), (6.477,0.99,6.612,1.195), (6.512,0.99,6.577,1.055), (6.512,0.99,6.577,1.055), (6.512,0.99,6.577,1.055), (6.512,0.99,6.577,1.055), (0.242,1.06,0.307,1.195), (6.547,1.087,6.612,1.152), (0.242,1.13,0.307,1.35), (6.697,1.165,6.762,1.35), (0.587,1.23,0.722,1.295), (0.657,1.23,0.722,1.35), (0,1.285,6.86,1.4)])
R(complex109, boundary, [(0,0,6.86,1.4)])
complex109.add(gdstk.Label('A', (0.7,0.7), layer=11, texttype=0))
complex109.add(gdstk.Label('B', (5.88,0.7), layer=11, texttype=0))
complex109.add(gdstk.Label('C', (4.9,0.7), layer=11, texttype=0))
complex109.add(gdstk.Label('D', (3.78,0.7), layer=11, texttype=0))
complex109.add(gdstk.Label('E', (3.36,0.7), layer=11, texttype=0))
complex109.add(gdstk.Label('F', (2.1,0.84), layer=11, texttype=0))
complex109.add(gdstk.Label('G', (0.98,0.7), layer=11, texttype=0))
complex109.add(gdstk.Label('H', (2.8,0.7), layer=11, texttype=0))
complex109.add(gdstk.Label('Y', (6.58,1.12), layer=11, texttype=0))
complex109.add(gdstk.Label('VCC', (0,1.4), layer=11, texttype=0))
complex109.add(gdstk.Label('GND', (0,0), layer=11, texttype=0))

lib.write_gds('COMPLEX109.gds')
